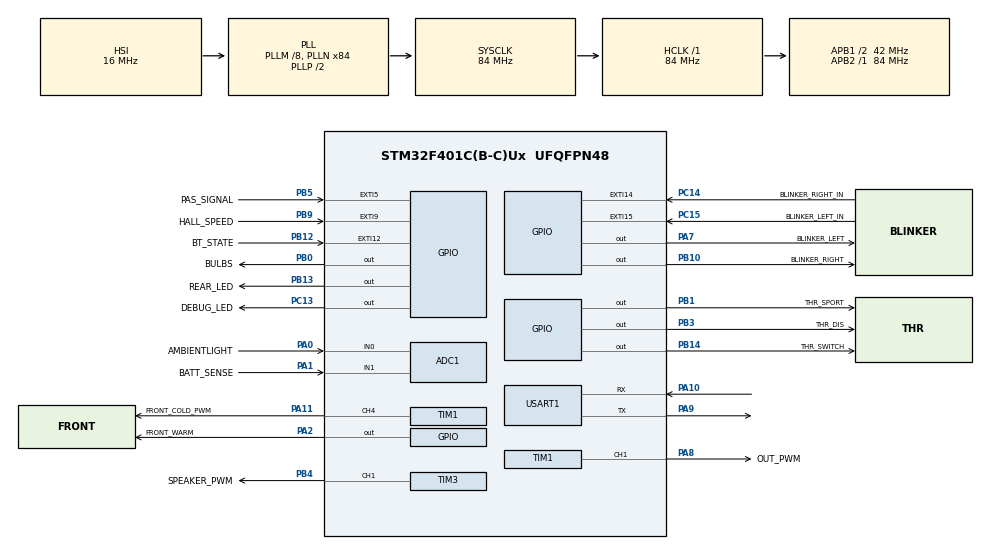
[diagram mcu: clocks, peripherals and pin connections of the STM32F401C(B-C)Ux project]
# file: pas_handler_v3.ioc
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ADC1.Channel-16\#ChannelRegularConversion=ADC_CHANNEL_1
ADC1.Channel-17\#ChannelRegularConversion=ADC_CHANNEL_0
ADC1.ClockPrescaler=ADC_CLOCK_SYNC_PCLK_DIV8
ADC1.ContinuousConvMode=ENABLE
ADC1.DMAContinuousRequests=ENABLE
ADC1.ExternalTrigConv=ADC_SOFTWARE_START
ADC1.NbrOfConversion=2
ADC1.NbrOfConversionFlag=1
ADC1.Rank-16\#ChannelRegularConversion=1
ADC1.Rank-17\#ChannelRegularConversion=2
ADC1.SamplingTime-16\#ChannelRegularConversion=ADC_SAMPLETIME_84CYCLES
ADC1.SamplingTime-17\#ChannelRegularConversion=ADC_SAMPLETIME_84CYCLES
ADC1.ScanConvMode=ENABLE
ADC1.master=1
Dma.ADC1.0.Direction=DMA_PERIPH_TO_MEMORY
Dma.ADC1.0.FIFOMode=DMA_FIFOMODE_DISABLE
Dma.ADC1.0.Instance=DMA2_Stream0
Dma.ADC1.0.MemDataAlignment=DMA_MDATAALIGN_HALFWORD
Dma.ADC1.0.MemInc=DMA_MINC_ENABLE
Dma.ADC1.0.Mode=DMA_CIRCULAR
Dma.ADC1.0.PeriphDataAlignment=DMA_PDATAALIGN_HALFWORD
Dma.ADC1.0.PeriphInc=DMA_PINC_DISABLE
Dma.ADC1.0.Priority=DMA_PRIORITY_LOW
Dma.Request0=ADC1
Mcu.Family=STM32F4
Mcu.Name=STM32F401C(B-C)Ux
Mcu.Package=UFQFPN48
NVIC.ADC_IRQn=true\:1\:0\:true\:false\:true\:true\:true\:true
NVIC.DMA2_Stream0_IRQn=true\:0\:0\:false\:false\:true\:false\:true\:true
NVIC.EXTI15_10_IRQn=true\:0\:0\:false\:false\:true\:true\:true\:true
NVIC.EXTI9_5_IRQn=true\:0\:0\:false\:false\:true\:true\:true\:true
NVIC.PriorityGroup=NVIC_PRIORITYGROUP_4
NVIC.USART1_IRQn=true\:0\:0\:false\:false\:true\:true\:true\:true
PA0-WKUP.GPIO_Label=AMBIENTLIGHT
PA0-WKUP.Signal=ADCx_IN0
PA1.GPIO_Label=BATT_SENSE
PA1.Signal=ADCx_IN1
PA10.Mode=Asynchronous
PA10.Signal=USART1_RX
PA11.GPIO_Label=FRONT_COLD_PWM
PA11.Signal=S_TIM1_CH4
PA2.GPIO_Label=FRONT_WARM
PA2.Signal=GPIO_Output
PA7.GPIO_Label=BLINKER_LEFT
PA7.GPIO_ModeDefaultOutputPP=GPIO_MODE_OUTPUT_OD
PA7.GPIO_PuPd=GPIO_NOPULL
PA7.PinState=GPIO_PIN_RESET
PA7.Signal=GPIO_Output
PA8.GPIO_Label=OUT_PWM
PA8.Signal=S_TIM1_CH1
PA9.Mode=Asynchronous
PA9.Signal=USART1_TX
PB0.GPIO_Label=BULBS
PB0.Signal=GPIO_Output
PB1.GPIO_Label=THR_SPORT
PB1.PinState=GPIO_PIN_RESET
PB1.Signal=GPIO_Output
PB10.GPIO_Label=BLINKER_RIGHT
PB10.GPIO_ModeDefaultOutputPP=GPIO_MODE_OUTPUT_OD
PB10.GPIO_PuPd=GPIO_NOPULL
PB10.PinState=GPIO_PIN_RESET
PB10.Signal=GPIO_Output
PB12.GPIO_Label=BT_STATE
PB12.GPIO_ModeDefaultEXTI=GPIO_MODE_IT_RISING_FALLING
PB12.Signal=GPXTI12
PB13.GPIO_Label=REAR_LED
PB13.Signal=GPIO_Output
PB14.GPIO_Label=THR_SWITCH
PB14.Signal=GPIO_Output
PB3.GPIO_Label=THR_DIS
PB3.Signal=GPIO_Output
PB4.GPIO_Label=SPEAKER_PWM
PB4.Signal=S_TIM3_CH1
PB5.GPIO_Label=PAS_SIGNAL
PB5.Signal=GPXTI5
PB9.GPIO_Label=HALL_SPEED
PB9.Signal=GPXTI9
PC13-ANTI_TAMP.GPIO_Label=DEBUG_LED
PC13-ANTI_TAMP.Signal=GPIO_Output
PC14-OSC32_IN.GPIO_Label=BLINKER_RIGHT_IN
PC14-OSC32_IN.GPIO_ModeDefaultEXTI=GPIO_MODE_IT_RISING_FALLING
PC14-OSC32_IN.GPIO_PuPd=GPIO_PULLUP
PC14-OSC32_IN.Signal=GPXTI14
PC15-OSC32_OUT.GPIO_Label=BLINKER_LEFT_IN
PC15-OSC32_OUT.GPIO_ModeDefaultEXTI=GPIO_MODE_IT_RISING_FALLING
PC15-OSC32_OUT.GPIO_PuPd=GPIO_PULLUP
PC15-OSC32_OUT.Signal=GPXTI15
ProjectManager.HeapSize=0x200
ProjectManager.StackSize=0x400
ProjectManager.TargetToolchain=CMake
RCC.48MHZClocksFreq_Value=42000000
RCC.AHBFreq_Value=84000000
RCC.APB1CLKDivider=RCC_HCLK_DIV2
RCC.APB1Freq_Value=42000000
RCC.APB1TimFreq_Value=84000000
RCC.APB2Freq_Value=84000000
RCC.APB2TimFreq_Value=84000000
RCC.CortexFreq_Value=84000000
RCC.HCLKFreq_Value=84000000
RCC.HSE_VALUE=25000000
RCC.HSI_VALUE=16000000
RCC.LSE_VALUE=32768
RCC.PLLM=8
RCC.PLLN=84
RCC.SYSCLKFreq_VALUE=84000000
RCC.SYSCLKSource=RCC_SYSCLKSOURCE_PLLCLK
RCC.VCOOutputFreq_Value=168000000
SH.ADCx_IN0.0=ADC1_IN0,IN0
SH.ADCx_IN1.0=ADC1_IN1,IN1
SH.S_TIM1_CH1.0=TIM1_CH1,PWM Generation1 CH1
SH.S_TIM1_CH4.0=TIM1_CH4,PWM Generation4 CH4
SH.S_TIM3_CH1.0=TIM3_CH1,PWM Generation1 CH1
TIM1.Channel-PWM\ Generation1\ CH1=TIM_CHANNEL_1
TIM1.Channel-PWM\ Generation4\ CH4=TIM_CHANNEL_4
TIM1.Period=1000-1
TIM1.Prescaler=2-1
TIM3.Channel-PWM\ Generation1\ CH1=TIM_CHANNEL_1
TIM3.Period=1000-1
TIM3.Pulse-PWM\ Generation1\ CH1=500
USART1.VirtualMode=VM_ASYNC
VP_TIM1_VS_ClockSourceINT.Mode=Internal
VP_TIM3_VS_ClockSourceINT.Mode=Internal
board=custom

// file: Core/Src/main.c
/* USER CODE BEGIN Header */
/**
 ******************************************************************************
 * @file           : main.c
 * @brief          : Main program body
 ******************************************************************************
 * @attention
 *
 * Copyright (c) 2024 STMicroelectronics.
 * All rights reserved.
 *
 * This software is licensed under terms that can be found in the LICENSE file
 * in the root directory of this software component.
 * If no LICENSE file comes with this software, it is provided AS-IS.
 *
 ******************************************************************************
 */
/* USER CODE END Header */
#include "main.h"

/* USER CODE BEGIN Includes */
#include <stdbool.h>
#include <stdio.h>
#include <string.h>

#include "adc.h"
#include "algorithm.h"
#include "animations.h"
#include "ambientlight.h"
#include "gpio.h"
#include "helpers.h"
#include "logger.h"
#include "sounds.h"
#include "uart.h"
#include "blinkers.h"

/* USER CODE END Includes */

ADC_HandleTypeDef hadc1;
DMA_HandleTypeDef hdma_adc1;

TIM_HandleTypeDef htim1;
TIM_HandleTypeDef htim3;

UART_HandleTypeDef huart1;

void SystemClock_Config(void);
static void MX_GPIO_Init(void);
static void MX_DMA_Init(void);
static void MX_TIM1_Init(void);
static void MX_USART1_UART_Init(void);
static void MX_TIM3_Init(void);
static void MX_ADC1_Init(void);

/* USER CODE BEGIN 0 */
void HAL_GPIO_EXTI_Callback(uint16_t GPIO_Pin) {
  switch (GPIO_Pin) {
    case BT_STATE_Pin:
      if (readPin(BT_STATE_GPIO_Port, BT_STATE_Pin)) {
        bluetoothConnected = true;
        playTone(SOUND_CONNECTED);
        playAnim(ANIM_CONNECTED);
      } else {
        bluetoothConnected = false;
        playTone(SOUND_DISCONNECTED);
        playAnim(ANIM_DISCONNECTED);
      }
      break;
    case PAS_SIGNAL_Pin:
      pasCounter++;
      break;
    case HALL_SPEED_Pin:
      if (readPin(HALL_SPEED_GPIO_Port, HALL_SPEED_Pin)) setRealBikeVelocity(calculateRealBikeVelocity(HAL_GetTick()));
      break;
    case BLINKER_LEFT_IN_Pin:
      readPin(BLINKER_LEFT_IN_GPIO_Port, BLINKER_LEFT_IN_Pin) ? resetBlinkers() : enableLeftBlinker();
      break;
    case BLINKER_RIGHT_IN_Pin:
      readPin(BLINKER_RIGHT_IN_GPIO_Port, BLINKER_RIGHT_IN_Pin) ? resetBlinkers() : enableRightBlinker();
      break;
  }
}

void HAL_UARTEx_RxEventCallback(UART_HandleTypeDef* huart, uint16_t size) {
  handleRxInterrupt(huart, size);
}

void HAL_ADC_ConvCpltCallback(ADC_HandleTypeDef* hadc) {
  startAdcMeasurement();
}

/* USER CODE END 0 */

int main(void)
{

  /* MCU Configuration--------------------------------------------------------*/

  /* Reset of all peripherals, Initializes the Flash interface and the Systick. */
  HAL_Init();

  /* Configure the system clock */
  SystemClock_Config();

  /* Initialize all configured peripherals */
  MX_GPIO_Init();
  MX_DMA_Init();
  MX_TIM1_Init();
  MX_USART1_UART_Init();
  MX_TIM3_Init();
  MX_ADC1_Init();
  /* USER CODE BEGIN 2 */

  bikeInit();
  /* USER CODE END 2 */

  /* Infinite loop */
  /* USER CODE BEGIN WHILE */

  while (1) {
    processSendStatus();
    processTone();
    processAnimation();
    blink1S();
    processRealVelocity();
    processAdcMeasurement();
    processBlinkers();
    processAmbientLight();

    if (!runAlgorithm())
      continue;

    /* USER CODE END WHILE */

  }
}

void SystemClock_Config(void)
{
  RCC_OscInitTypeDef RCC_OscInitStruct = {0};
  RCC_ClkInitTypeDef RCC_ClkInitStruct = {0};

  /** Configure the main internal regulator output voltage
  */
  __HAL_RCC_PWR_CLK_ENABLE();
  __HAL_PWR_VOLTAGESCALING_CONFIG(PWR_REGULATOR_VOLTAGE_SCALE2);

  /** Initializes the RCC Oscillators according to the specified parameters
  * in the RCC_OscInitTypeDef structure.
  */
  RCC_OscInitStruct.OscillatorType = RCC_OSCILLATORTYPE_HSI;
  RCC_OscInitStruct.HSIState = RCC_HSI_ON;
  RCC_OscInitStruct.HSICalibrationValue = RCC_HSICALIBRATION_DEFAULT;
  RCC_OscInitStruct.PLL.PLLState = RCC_PLL_ON;
  RCC_OscInitStruct.PLL.PLLSource = RCC_PLLSOURCE_HSI;
  RCC_OscInitStruct.PLL.PLLM = 8;
  RCC_OscInitStruct.PLL.PLLN = 84;
  RCC_OscInitStruct.PLL.PLLP = RCC_PLLP_DIV2;
  RCC_OscInitStruct.PLL.PLLQ = 4;
  if (HAL_RCC_OscConfig(&RCC_OscInitStruct) != HAL_OK)
  {
    Error_Handler();
  }

  /** Initializes the CPU, AHB and APB buses clocks
  */
  RCC_ClkInitStruct.ClockType = RCC_CLOCKTYPE_HCLK|RCC_CLOCKTYPE_SYSCLK
                              |RCC_CLOCKTYPE_PCLK1|RCC_CLOCKTYPE_PCLK2;
  RCC_ClkInitStruct.SYSCLKSource = RCC_SYSCLKSOURCE_PLLCLK;
  RCC_ClkInitStruct.AHBCLKDivider = RCC_SYSCLK_DIV1;
  RCC_ClkInitStruct.APB1CLKDivider = RCC_HCLK_DIV2;
  RCC_ClkInitStruct.APB2CLKDivider = RCC_HCLK_DIV1;

  if (HAL_RCC_ClockConfig(&RCC_ClkInitStruct, FLASH_LATENCY_2) != HAL_OK)
  {
    Error_Handler();
  }
}

static void MX_ADC1_Init(void)
{

  ADC_ChannelConfTypeDef sConfig = {0};

  /** Configure the global features of the ADC (Clock, Resolution, Data Alignment and number of conversion)
  */
  hadc1.Instance = ADC1;
  hadc1.Init.ClockPrescaler = ADC_CLOCK_SYNC_PCLK_DIV8;
  hadc1.Init.Resolution = ADC_RESOLUTION_12B;
  hadc1.Init.ScanConvMode = ENABLE;
  hadc1.Init.ContinuousConvMode = ENABLE;
  hadc1.Init.DiscontinuousConvMode = DISABLE;
  hadc1.Init.ExternalTrigConvEdge = ADC_EXTERNALTRIGCONVEDGE_NONE;
  hadc1.Init.ExternalTrigConv = ADC_SOFTWARE_START;
  hadc1.Init.DataAlign = ADC_DATAALIGN_RIGHT;
  hadc1.Init.NbrOfConversion = 2;
  hadc1.Init.DMAContinuousRequests = ENABLE;
  hadc1.Init.EOCSelection = ADC_EOC_SINGLE_CONV;
  if (HAL_ADC_Init(&hadc1) != HAL_OK)
  {
    Error_Handler();
  }

  /** Configure for the selected ADC regular channel its corresponding rank in the sequencer and its sample time.
  */
  sConfig.Channel = ADC_CHANNEL_1;
  sConfig.Rank = 1;
  sConfig.SamplingTime = ADC_SAMPLETIME_480CYCLES;
  if (HAL_ADC_ConfigChannel(&hadc1, &sConfig) != HAL_OK)
  {
    Error_Handler();
  }

  /** Configure for the selected ADC regular channel its corresponding rank in the sequencer and its sample time.
  */
  sConfig.Channel = ADC_CHANNEL_0;
  sConfig.Rank = 2;
  if (HAL_ADC_ConfigChannel(&hadc1, &sConfig) != HAL_OK)
  {
    Error_Handler();
  }

}

static void MX_TIM1_Init(void)
{

  TIM_ClockConfigTypeDef sClockSourceConfig = {0};
  TIM_MasterConfigTypeDef sMasterConfig = {0};
  TIM_OC_InitTypeDef sConfigOC = {0};
  TIM_BreakDeadTimeConfigTypeDef sBreakDeadTimeConfig = {0};

  htim1.Instance = TIM1;
  htim1.Init.Prescaler = 2-1;
  htim1.Init.CounterMode = TIM_COUNTERMODE_UP;
  htim1.Init.Period = 1000-1;
  htim1.Init.ClockDivision = TIM_CLOCKDIVISION_DIV1;
  htim1.Init.RepetitionCounter = 0;
  htim1.Init.AutoReloadPreload = TIM_AUTORELOAD_PRELOAD_DISABLE;
  if (HAL_TIM_Base_Init(&htim1) != HAL_OK)
  {
    Error_Handler();
  }
  sClockSourceConfig.ClockSource = TIM_CLOCKSOURCE_INTERNAL;
  if (HAL_TIM_ConfigClockSource(&htim1, &sClockSourceConfig) != HAL_OK)
  {
    Error_Handler();
  }
  if (HAL_TIM_PWM_Init(&htim1) != HAL_OK)
  {
    Error_Handler();
  }
  sMasterConfig.MasterOutputTrigger = TIM_TRGO_RESET;
  sMasterConfig.MasterSlaveMode = TIM_MASTERSLAVEMODE_DISABLE;
  if (HAL_TIMEx_MasterConfigSynchronization(&htim1, &sMasterConfig) != HAL_OK)
  {
    Error_Handler();
  }
  sConfigOC.OCMode = TIM_OCMODE_PWM1;
  sConfigOC.Pulse = 0;
  sConfigOC.OCPolarity = TIM_OCPOLARITY_HIGH;
  sConfigOC.OCNPolarity = TIM_OCNPOLARITY_HIGH;
  sConfigOC.OCFastMode = TIM_OCFAST_DISABLE;
  sConfigOC.OCIdleState = TIM_OCIDLESTATE_RESET;
  sConfigOC.OCNIdleState = TIM_OCNIDLESTATE_RESET;
  if (HAL_TIM_PWM_ConfigChannel(&htim1, &sConfigOC, TIM_CHANNEL_1) != HAL_OK)
  {
    Error_Handler();
  }
  if (HAL_TIM_PWM_ConfigChannel(&htim1, &sConfigOC, TIM_CHANNEL_4) != HAL_OK)
  {
    Error_Handler();
  }
  sBreakDeadTimeConfig.OffStateRunMode = TIM_OSSR_DISABLE;
  sBreakDeadTimeConfig.OffStateIDLEMode = TIM_OSSI_DISABLE;
  sBreakDeadTimeConfig.LockLevel = TIM_LOCKLEVEL_OFF;
  sBreakDeadTimeConfig.DeadTime = 0;
  sBreakDeadTimeConfig.BreakState = TIM_BREAK_DISABLE;
  sBreakDeadTimeConfig.BreakPolarity = TIM_BREAKPOLARITY_HIGH;
  sBreakDeadTimeConfig.AutomaticOutput = TIM_AUTOMATICOUTPUT_DISABLE;
  if (HAL_TIMEx_ConfigBreakDeadTime(&htim1, &sBreakDeadTimeConfig) != HAL_OK)
  {
    Error_Handler();
  }
  HAL_TIM_MspPostInit(&htim1);

}

static void MX_TIM3_Init(void)
{

  TIM_ClockConfigTypeDef sClockSourceConfig = {0};
  TIM_MasterConfigTypeDef sMasterConfig = {0};
  TIM_OC_InitTypeDef sConfigOC = {0};

  htim3.Instance = TIM3;
  htim3.Init.Prescaler = 0;
  htim3.Init.CounterMode = TIM_COUNTERMODE_UP;
  htim3.Init.Period = 1000-1;
  htim3.Init.ClockDivision = TIM_CLOCKDIVISION_DIV1;
  htim3.Init.AutoReloadPreload = TIM_AUTORELOAD_PRELOAD_DISABLE;
  if (HAL_TIM_Base_Init(&htim3) != HAL_OK)
  {
    Error_Handler();
  }
  sClockSourceConfig.ClockSource = TIM_CLOCKSOURCE_INTERNAL;
  if (HAL_TIM_ConfigClockSource(&htim3, &sClockSourceConfig) != HAL_OK)
  {
    Error_Handler();
  }
  if (HAL_TIM_PWM_Init(&htim3) != HAL_OK)
  {
    Error_Handler();
  }
  sMasterConfig.MasterOutputTrigger = TIM_TRGO_RESET;
  sMasterConfig.MasterSlaveMode = TIM_MASTERSLAVEMODE_DISABLE;
  if (HAL_TIMEx_MasterConfigSynchronization(&htim3, &sMasterConfig) != HAL_OK)
  {
    Error_Handler();
  }
  sConfigOC.OCMode = TIM_OCMODE_PWM1;
  sConfigOC.Pulse = 500;
  sConfigOC.OCPolarity = TIM_OCPOLARITY_HIGH;
  sConfigOC.OCFastMode = TIM_OCFAST_DISABLE;
  if (HAL_TIM_PWM_ConfigChannel(&htim3, &sConfigOC, TIM_CHANNEL_1) != HAL_OK)
  {
    Error_Handler();
  }
  HAL_TIM_MspPostInit(&htim3);

}

static void MX_USART1_UART_Init(void)
{

  huart1.Instance = USART1;
  huart1.Init.BaudRate = 115200;
  huart1.Init.WordLength = UART_WORDLENGTH_8B;
  huart1.Init.StopBits = UART_STOPBITS_1;
  huart1.Init.Parity = UART_PARITY_NONE;
  huart1.Init.Mode = UART_MODE_TX_RX;
  huart1.Init.HwFlowCtl = UART_HWCONTROL_NONE;
  huart1.Init.OverSampling = UART_OVERSAMPLING_16;
  if (HAL_UART_Init(&huart1) != HAL_OK)
  {
    Error_Handler();
  }

}

static void MX_DMA_Init(void)
{

  /* DMA controller clock enable */
  __HAL_RCC_DMA2_CLK_ENABLE();

  /* DMA interrupt init */
  /* DMA2_Stream0_IRQn interrupt configuration */
  HAL_NVIC_SetPriority(DMA2_Stream0_IRQn, 0, 0);
  HAL_NVIC_EnableIRQ(DMA2_Stream0_IRQn);

}

static void MX_GPIO_Init(void)
{
  GPIO_InitTypeDef GPIO_InitStruct = {0};

  /* GPIO Ports Clock Enable */
  __HAL_RCC_GPIOC_CLK_ENABLE();
  __HAL_RCC_GPIOA_CLK_ENABLE();
  __HAL_RCC_GPIOB_CLK_ENABLE();

  /*Configure GPIO pin Output Level */
  HAL_GPIO_WritePin(DEBUG_LED_GPIO_Port, DEBUG_LED_Pin, GPIO_PIN_RESET);

  /*Configure GPIO pin Output Level */
  HAL_GPIO_WritePin(GPIOA, FRONT_WARM_Pin|BLINKER_LEFT_Pin, GPIO_PIN_RESET);

  /*Configure GPIO pin Output Level */
  HAL_GPIO_WritePin(GPIOB, BULBS_Pin|THR_SPORT_Pin|BLINKER_RIGHT_Pin|REAR_LED_Pin
                          |THR_SWITCH_Pin|THR_DIS_Pin, GPIO_PIN_RESET);

  /*Configure GPIO pin : DEBUG_LED_Pin */
  GPIO_InitStruct.Pin = DEBUG_LED_Pin;
  GPIO_InitStruct.Mode = GPIO_MODE_OUTPUT_PP;
  GPIO_InitStruct.Pull = GPIO_NOPULL;
  GPIO_InitStruct.Speed = GPIO_SPEED_FREQ_LOW;
  HAL_GPIO_Init(DEBUG_LED_GPIO_Port, &GPIO_InitStruct);

  /*Configure GPIO pins : BLINKER_RIGHT_IN_Pin BLINKER_LEFT_IN_Pin */
  GPIO_InitStruct.Pin = BLINKER_RIGHT_IN_Pin|BLINKER_LEFT_IN_Pin;
  GPIO_InitStruct.Mode = GPIO_MODE_IT_RISING_FALLING;
  GPIO_InitStruct.Pull = GPIO_PULLUP;
  HAL_GPIO_Init(GPIOC, &GPIO_InitStruct);

  /*Configure GPIO pin : FRONT_WARM_Pin */
  GPIO_InitStruct.Pin = FRONT_WARM_Pin;
  GPIO_InitStruct.Mode = GPIO_MODE_OUTPUT_PP;
  GPIO_InitStruct.Pull = GPIO_NOPULL;
  GPIO_InitStruct.Speed = GPIO_SPEED_FREQ_LOW;
  HAL_GPIO_Init(FRONT_WARM_GPIO_Port, &GPIO_InitStruct);

  /*Configure GPIO pin : BLINKER_LEFT_Pin */
  GPIO_InitStruct.Pin = BLINKER_LEFT_Pin;
  GPIO_InitStruct.Mode = GPIO_MODE_OUTPUT_OD;
  GPIO_InitStruct.Pull = GPIO_NOPULL;
  GPIO_InitStruct.Speed = GPIO_SPEED_FREQ_LOW;
  HAL_GPIO_Init(BLINKER_LEFT_GPIO_Port, &GPIO_InitStruct);

  /*Configure GPIO pins : BULBS_Pin THR_SPORT_Pin REAR_LED_Pin THR_SWITCH_Pin
                           THR_DIS_Pin */
  GPIO_InitStruct.Pin = BULBS_Pin|THR_SPORT_Pin|REAR_LED_Pin|THR_SWITCH_Pin
                          |THR_DIS_Pin;
  GPIO_InitStruct.Mode = GPIO_MODE_OUTPUT_PP;
  GPIO_InitStruct.Pull = GPIO_NOPULL;
  GPIO_InitStruct.Speed = GPIO_SPEED_FREQ_LOW;
  HAL_GPIO_Init(GPIOB, &GPIO_InitStruct);

  /*Configure GPIO pin : BLINKER_RIGHT_Pin */
  GPIO_InitStruct.Pin = BLINKER_RIGHT_Pin;
  GPIO_InitStruct.Mode = GPIO_MODE_OUTPUT_OD;
  GPIO_InitStruct.Pull = GPIO_NOPULL;
  GPIO_InitStruct.Speed = GPIO_SPEED_FREQ_LOW;
  HAL_GPIO_Init(BLINKER_RIGHT_GPIO_Port, &GPIO_InitStruct);

  /*Configure GPIO pin : BT_STATE_Pin */
  GPIO_InitStruct.Pin = BT_STATE_Pin;
  GPIO_InitStruct.Mode = GPIO_MODE_IT_RISING_FALLING;
  GPIO_InitStruct.Pull = GPIO_NOPULL;
  HAL_GPIO_Init(BT_STATE_GPIO_Port, &GPIO_InitStruct);

  /*Configure GPIO pins : PAS_SIGNAL_Pin HALL_SPEED_Pin */
  GPIO_InitStruct.Pin = PAS_SIGNAL_Pin|HALL_SPEED_Pin;
  GPIO_InitStruct.Mode = GPIO_MODE_IT_RISING;
  GPIO_InitStruct.Pull = GPIO_NOPULL;
  HAL_GPIO_Init(GPIOB, &GPIO_InitStruct);

  /* EXTI interrupt init*/
  HAL_NVIC_SetPriority(EXTI9_5_IRQn, 0, 0);
  HAL_NVIC_EnableIRQ(EXTI9_5_IRQn);

  HAL_NVIC_SetPriority(EXTI15_10_IRQn, 0, 0);
  HAL_NVIC_EnableIRQ(EXTI15_10_IRQn);

}

void Error_Handler(void)
{
  /* USER CODE BEGIN Error_Handler_Debug */
  /* User can add his own implementation to report the HAL error return state
   */
  __disable_irq();
  while (1) {
  }
  /* USER CODE END Error_Handler_Debug */
}

#ifdef  USE_FULL_ASSERT
/**
  * @brief  Reports the name of the source file and the source line number
  *         where the assert_param error has occurred.
  * @param  file: pointer to the source file name
  * @param  line: assert_param error line source number
  * @retval None
  */
void assert_failed(uint8_t *file, uint32_t line)
{
  /* USER CODE BEGIN 6 */
  /* User can add his own implementation to report the file name and line
     number, ex: printf("Wrong parameters value: file %s on line %d\r\n", file,
     line) */
  /* USER CODE END 6 */
}
#endif /* USE_FULL_ASSERT */
